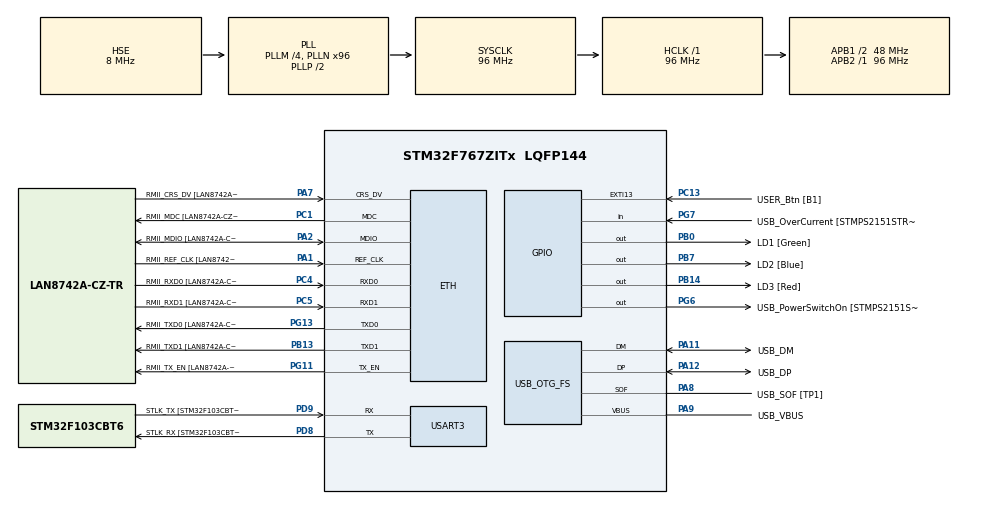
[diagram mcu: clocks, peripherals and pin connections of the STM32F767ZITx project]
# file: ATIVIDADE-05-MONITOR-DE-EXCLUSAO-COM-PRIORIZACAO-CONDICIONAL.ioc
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ETH.MediaInterface=HAL_ETH_RMII_MODE
ETH.PHY_Name=LAN8742A_PHY_ADDRESS
ETH.PHY_Value=0
ETH.PhyAddress=0
FREERTOS.Mutexes01=MeuMutex,Dynamic,NULL,Available
FREERTOS.Tasks01=Tarefa01,24,128,Tarefa01_Def,Default,NULL,Dynamic,NULL,NULL;Tarefa02,24,128,Tarefa02_Def,Default,NULL,Dynamic,NULL,NULL;Tarefa03,24,128,Tarefa03_Def,Default,NULL,Dynamic,NULL,NULL
FREERTOS.configUSE_NEWLIB_REENTRANT=1
Mcu.Family=STM32F7
Mcu.Name=STM32F767ZITx
Mcu.Package=LQFP144
NVIC.EXTI15_10_IRQn=true\:5\:0\:false\:false\:true\:true\:true\:true\:true
NVIC.PriorityGroup=NVIC_PRIORITYGROUP_4
NVIC.TIM1_UP_TIM10_IRQn=true\:15\:0\:false\:false\:true\:false\:false\:true\:true
NVIC.TimeBase=TIM1_UP_TIM10_IRQn
NVIC.TimeBaseIP=TIM1
PA1.GPIO_Label=RMII_REF_CLK [LAN8742A-CZ-TR_REFCLK0]
PA1.Mode=RMII
PA1.Signal=ETH_REF_CLK
PA10.GPIO_Label=USB_ID
PA10.Signal=USB_OTG_FS_ID
PA11.GPIO_Label=USB_DM
PA11.Mode=Device_Only
PA11.Signal=USB_OTG_FS_DM
PA12.GPIO_Label=USB_DP
PA12.Mode=Device_Only
PA12.Signal=USB_OTG_FS_DP
PA13.GPIO_Label=TMS
PA13.Mode=Serial_Wire
PA13.Signal=SYS_JTMS-SWDIO
PA14.GPIO_Label=TCK
PA14.Mode=Serial_Wire
PA14.Signal=SYS_JTCK-SWCLK
PA2.GPIO_Label=RMII_MDIO [LAN8742A-CZ-TR_MDIO]
PA2.Mode=RMII
PA2.Signal=ETH_MDIO
PA7.GPIO_Label=RMII_CRS_DV [LAN8742A-CZ-TR_CRS_DV]
PA7.Mode=RMII
PA7.Signal=ETH_CRS_DV
PA8.GPIO_Label=USB_SOF [TP1]
PA8.Mode=Activate_SOF_FS
PA8.Signal=USB_OTG_FS_SOF
PA9.GPIO_Label=USB_VBUS
PA9.Mode=Activate_VBUS
PA9.Signal=USB_OTG_FS_VBUS
PB0.GPIO_Label=LD1 [Green]
PB0.Signal=GPIO_Output
PB13.GPIO_Label=RMII_TXD1 [LAN8742A-CZ-TR_TXD1]
PB13.Mode=RMII
PB13.Signal=ETH_TXD1
PB14.GPIO_Label=LD3 [Red]
PB14.Signal=GPIO_Output
PB3.GPIO_Label=SWO
PB3.Signal=SYS_JTDO-SWO
PB7.GPIO_Label=LD2 [Blue]
PB7.Signal=GPIO_Output
PC1.GPIO_Label=RMII_MDC [LAN8742A-CZ-TR_MDC]
PC1.Mode=RMII
PC1.Signal=ETH_MDC
PC13.GPIO_Label=USER_Btn [B1]
PC13.Signal=GPXTI13
PC14/OSC32_IN.Mode=LSE-External-Oscillator
PC14/OSC32_IN.Signal=RCC_OSC32_IN
PC15/OSC32_OUT.Mode=LSE-External-Oscillator
PC15/OSC32_OUT.Signal=RCC_OSC32_OUT
PC4.GPIO_Label=RMII_RXD0 [LAN8742A-CZ-TR_RXD0]
PC4.Mode=RMII
PC4.Signal=ETH_RXD0
PC5.GPIO_Label=RMII_RXD1 [LAN8742A-CZ-TR_RXD1]
PC5.Mode=RMII
PC5.Signal=ETH_RXD1
PD8.GPIO_Label=STLK_RX [STM32F103CBT6_PA3]
PD8.Mode=Asynchronous
PD8.Signal=USART3_TX
PD9.GPIO_Label=STLK_TX [STM32F103CBT6_PA2]
PD9.Mode=Asynchronous
PD9.Signal=USART3_RX
PG11.GPIO_Label=RMII_TX_EN [LAN8742A-CZ-TR_TXEN]
PG11.Mode=RMII
PG11.Signal=ETH_TX_EN
PG13.GPIO_Label=RMII_TXD0 [LAN8742A-CZ-TR_TXD0]
PG13.Mode=RMII
PG13.Signal=ETH_TXD0
PG6.GPIO_Label=USB_PowerSwitchOn [STMPS2151STR_EN]
PG6.Signal=GPIO_Output
PG7.GPIO_Label=USB_OverCurrent [STMPS2151STR_FAULT]
PG7.Signal=GPIO_Input
PH0/OSC_IN.GPIO_Label=MCO [STM32F103CBT6_PA8]
PH0/OSC_IN.Mode=HSE-External-Clock-Source
PH0/OSC_IN.Signal=RCC_OSC_IN
PH1/OSC_OUT.Mode=HSE-External-Clock-Source
PH1/OSC_OUT.Signal=RCC_OSC_OUT
ProjectManager.HeapSize=0x200
ProjectManager.StackSize=0x400
ProjectManager.TargetToolchain=STM32CubeIDE
RCC.48MHZClocksFreq_Value=24000000
RCC.AHBFreq_Value=96000000
RCC.APB1CLKDivider=RCC_HCLK_DIV2
RCC.APB1Freq_Value=48000000
RCC.APB1TimFreq_Value=96000000
RCC.APB2Freq_Value=96000000
RCC.APB2TimFreq_Value=96000000
RCC.CortexFreq_Value=96000000
RCC.HCLKFreq_Value=96000000
RCC.HSE_VALUE=8000000
RCC.HSI_VALUE=16000000
RCC.PLLM=4
RCC.PLLMUL=RCC_PLL_MUL9
RCC.PLLN=96
RCC.PLLQ=4
RCC.PRESCALERUSB=RCC_USBCLKSOURCE_PLL_DIV1_5
RCC.SYSCLKFreq_VALUE=96000000
RCC.SYSCLKSource=RCC_SYSCLKSOURCE_PLLCLK
RCC.SYSCLKSourceVirtual=RCC_SYSCLKSOURCE_PLLCLK
RCC.USBFreq_Value=48000000
RCC.VCOOutputFreq_Value=192000000
USART3.VirtualMode-Asynchronous=VM_ASYNC
USB_OTG_FS.VirtualMode=Device_Only
VP_FREERTOS_VS_CMSIS_V2.Mode=CMSIS_V2
VP_SYS_VS_tim1.Mode=TIM1
board=NUCLEO-F767ZI

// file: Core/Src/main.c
/* USER CODE BEGIN Header */
/**
  ******************************************************************************
  * @file           : main.c
  * @brief          : Main program body
  ******************************************************************************
  * @attention
  *
  * Copyright (c) 2025 STMicroelectronics.
  * All rights reserved.
  *
  * This software is licensed under terms that can be found in the LICENSE file
  * in the root directory of this software component.
  * If no LICENSE file comes with this software, it is provided AS-IS.
  *
  ******************************************************************************
  */
/* USER CODE END Header */
#include "main.h"
#include "string.h"
#include "cmsis_os.h"

/* USER CODE BEGIN Includes */

#include <stdio.h>

/* USER CODE END Includes */

#if defined ( __ICCARM__ ) /*!< IAR Compiler */
#pragma location=0x2007c000
ETH_DMADescTypeDef  DMARxDscrTab[ETH_RX_DESC_CNT]; /* Ethernet Rx DMA Descriptors */
#pragma location=0x2007c0a0
ETH_DMADescTypeDef  DMATxDscrTab[ETH_TX_DESC_CNT]; /* Ethernet Tx DMA Descriptors */

#elif defined ( __CC_ARM )  /* MDK ARM Compiler */

__attribute__((at(0x2007c000))) ETH_DMADescTypeDef  DMARxDscrTab[ETH_RX_DESC_CNT]; /* Ethernet Rx DMA Descriptors */
__attribute__((at(0x2007c0a0))) ETH_DMADescTypeDef  DMATxDscrTab[ETH_TX_DESC_CNT]; /* Ethernet Tx DMA Descriptors */

#elif defined ( __GNUC__ ) /* GNU Compiler */

ETH_DMADescTypeDef DMARxDscrTab[ETH_RX_DESC_CNT] __attribute__((section(".RxDecripSection"))); /* Ethernet Rx DMA Descriptors */
ETH_DMADescTypeDef DMATxDscrTab[ETH_TX_DESC_CNT] __attribute__((section(".TxDecripSection")));   /* Ethernet Tx DMA Descriptors */
#endif

ETH_TxPacketConfig TxConfig;

ETH_HandleTypeDef heth;

UART_HandleTypeDef huart3;

PCD_HandleTypeDef hpcd_USB_OTG_FS;

/* Definitions for Tarefa01 */
osThreadId_t Tarefa01Handle;
const osThreadAttr_t Tarefa01_attributes = {
  .name = "Tarefa01",
  .stack_size = 128 * 4,
  .priority = (osPriority_t) osPriorityNormal,
};
/* Definitions for Tarefa02 */
osThreadId_t Tarefa02Handle;
const osThreadAttr_t Tarefa02_attributes = {
  .name = "Tarefa02",
  .stack_size = 128 * 4,
  .priority = (osPriority_t) osPriorityNormal,
};
/* Definitions for Tarefa03 */
osThreadId_t Tarefa03Handle;
const osThreadAttr_t Tarefa03_attributes = {
  .name = "Tarefa03",
  .stack_size = 128 * 4,
  .priority = (osPriority_t) osPriorityNormal,
};
/* Definitions for MeuMutex */
osMutexId_t MeuMutexHandle;
const osMutexAttr_t MeuMutex_attributes = {
  .name = "MeuMutex"
};
/* USER CODE BEGIN PV */

osThreadId_t donoMutex = NULL;

/* USER CODE END PV */

void SystemClock_Config(void);
static void MX_GPIO_Init(void);
static void MX_ETH_Init(void);
static void MX_USART3_UART_Init(void);
static void MX_USB_OTG_FS_PCD_Init(void);
void Tarefa01_Def(void *argument);
void Tarefa02_Def(void *argument);
void Tarefa03_Def(void *argument);

int main(void)
{

  /* MCU Configuration--------------------------------------------------------*/

  /* Reset of all peripherals, Initializes the Flash interface and the Systick. */
  HAL_Init();

  /* Configure the system clock */
  SystemClock_Config();

  /* Initialize all configured peripherals */
  MX_GPIO_Init();
  MX_ETH_Init();
  MX_USART3_UART_Init();
  MX_USB_OTG_FS_PCD_Init();

  /* Init scheduler */
  osKernelInitialize();
  /* Create the mutex(es) */
  /* creation of MeuMutex */
  MeuMutexHandle = osMutexNew(&MeuMutex_attributes);

  /* Create the thread(s) */
  /* creation of Tarefa01 */
  Tarefa01Handle = osThreadNew(Tarefa01_Def, NULL, &Tarefa01_attributes);

  /* creation of Tarefa02 */
  Tarefa02Handle = osThreadNew(Tarefa02_Def, NULL, &Tarefa02_attributes);

  /* creation of Tarefa03 */
  Tarefa03Handle = osThreadNew(Tarefa03_Def, NULL, &Tarefa03_attributes);

  /* Start scheduler */
  osKernelStart();

  /* We should never get here as control is now taken by the scheduler */

  /* Infinite loop */
  while (1)
  {

  }
}

void SystemClock_Config(void)
{
  RCC_OscInitTypeDef RCC_OscInitStruct = {0};
  RCC_ClkInitTypeDef RCC_ClkInitStruct = {0};

  /** Configure LSE Drive Capability
  */
  HAL_PWR_EnableBkUpAccess();

  /** Configure the main internal regulator output voltage
  */
  __HAL_RCC_PWR_CLK_ENABLE();
  __HAL_PWR_VOLTAGESCALING_CONFIG(PWR_REGULATOR_VOLTAGE_SCALE3);

  /** Initializes the RCC Oscillators according to the specified parameters
  * in the RCC_OscInitTypeDef structure.
  */
  RCC_OscInitStruct.OscillatorType = RCC_OSCILLATORTYPE_HSE;
  RCC_OscInitStruct.HSEState = RCC_HSE_BYPASS;
  RCC_OscInitStruct.PLL.PLLState = RCC_PLL_ON;
  RCC_OscInitStruct.PLL.PLLSource = RCC_PLLSOURCE_HSE;
  RCC_OscInitStruct.PLL.PLLM = 4;
  RCC_OscInitStruct.PLL.PLLN = 96;
  RCC_OscInitStruct.PLL.PLLP = RCC_PLLP_DIV2;
  RCC_OscInitStruct.PLL.PLLQ = 4;
  RCC_OscInitStruct.PLL.PLLR = 2;
  if (HAL_RCC_OscConfig(&RCC_OscInitStruct) != HAL_OK)
  {
    Error_Handler();
  }

  /** Activate the Over-Drive mode
  */
  if (HAL_PWREx_EnableOverDrive() != HAL_OK)
  {
    Error_Handler();
  }

  /** Initializes the CPU, AHB and APB buses clocks
  */
  RCC_ClkInitStruct.ClockType = RCC_CLOCKTYPE_HCLK|RCC_CLOCKTYPE_SYSCLK
                              |RCC_CLOCKTYPE_PCLK1|RCC_CLOCKTYPE_PCLK2;
  RCC_ClkInitStruct.SYSCLKSource = RCC_SYSCLKSOURCE_PLLCLK;
  RCC_ClkInitStruct.AHBCLKDivider = RCC_SYSCLK_DIV1;
  RCC_ClkInitStruct.APB1CLKDivider = RCC_HCLK_DIV2;
  RCC_ClkInitStruct.APB2CLKDivider = RCC_HCLK_DIV1;

  if (HAL_RCC_ClockConfig(&RCC_ClkInitStruct, FLASH_LATENCY_3) != HAL_OK)
  {
    Error_Handler();
  }
}

static void MX_ETH_Init(void)
{

   static uint8_t MACAddr[6];

  heth.Instance = ETH;
  MACAddr[0] = 0x00;
  MACAddr[1] = 0x80;
  MACAddr[2] = 0xE1;
  MACAddr[3] = 0x00;
  MACAddr[4] = 0x00;
  MACAddr[5] = 0x00;
  heth.Init.MACAddr = &MACAddr[0];
  heth.Init.MediaInterface = HAL_ETH_RMII_MODE;
  heth.Init.TxDesc = DMATxDscrTab;
  heth.Init.RxDesc = DMARxDscrTab;
  heth.Init.RxBuffLen = 1524;

  if (HAL_ETH_Init(&heth) != HAL_OK)
  {
    Error_Handler();
  }

  memset(&TxConfig, 0 , sizeof(ETH_TxPacketConfig));
  TxConfig.Attributes = ETH_TX_PACKETS_FEATURES_CSUM | ETH_TX_PACKETS_FEATURES_CRCPAD;
  TxConfig.ChecksumCtrl = ETH_CHECKSUM_IPHDR_PAYLOAD_INSERT_PHDR_CALC;
  TxConfig.CRCPadCtrl = ETH_CRC_PAD_INSERT;

}

static void MX_USART3_UART_Init(void)
{

  huart3.Instance = USART3;
  huart3.Init.BaudRate = 115200;
  huart3.Init.WordLength = UART_WORDLENGTH_8B;
  huart3.Init.StopBits = UART_STOPBITS_1;
  huart3.Init.Parity = UART_PARITY_NONE;
  huart3.Init.Mode = UART_MODE_TX_RX;
  huart3.Init.HwFlowCtl = UART_HWCONTROL_NONE;
  huart3.Init.OverSampling = UART_OVERSAMPLING_16;
  huart3.Init.OneBitSampling = UART_ONE_BIT_SAMPLE_DISABLE;
  huart3.AdvancedInit.AdvFeatureInit = UART_ADVFEATURE_NO_INIT;
  if (HAL_UART_Init(&huart3) != HAL_OK)
  {
    Error_Handler();
  }

}

static void MX_USB_OTG_FS_PCD_Init(void)
{

  hpcd_USB_OTG_FS.Instance = USB_OTG_FS;
  hpcd_USB_OTG_FS.Init.dev_endpoints = 6;
  hpcd_USB_OTG_FS.Init.speed = PCD_SPEED_FULL;
  hpcd_USB_OTG_FS.Init.dma_enable = DISABLE;
  hpcd_USB_OTG_FS.Init.phy_itface = PCD_PHY_EMBEDDED;
  hpcd_USB_OTG_FS.Init.Sof_enable = ENABLE;
  hpcd_USB_OTG_FS.Init.low_power_enable = DISABLE;
  hpcd_USB_OTG_FS.Init.lpm_enable = DISABLE;
  hpcd_USB_OTG_FS.Init.vbus_sensing_enable = ENABLE;
  hpcd_USB_OTG_FS.Init.use_dedicated_ep1 = DISABLE;
  if (HAL_PCD_Init(&hpcd_USB_OTG_FS) != HAL_OK)
  {
    Error_Handler();
  }

}

static void MX_GPIO_Init(void)
{
  GPIO_InitTypeDef GPIO_InitStruct = {0};

  /* GPIO Ports Clock Enable */
  __HAL_RCC_GPIOC_CLK_ENABLE();
  __HAL_RCC_GPIOH_CLK_ENABLE();
  __HAL_RCC_GPIOA_CLK_ENABLE();
  __HAL_RCC_GPIOB_CLK_ENABLE();
  __HAL_RCC_GPIOD_CLK_ENABLE();
  __HAL_RCC_GPIOG_CLK_ENABLE();

  /*Configure GPIO pin Output Level */
  HAL_GPIO_WritePin(GPIOB, LD1_Pin|LD3_Pin|LD2_Pin, GPIO_PIN_RESET);

  /*Configure GPIO pin Output Level */
  HAL_GPIO_WritePin(USB_PowerSwitchOn_GPIO_Port, USB_PowerSwitchOn_Pin, GPIO_PIN_RESET);

  /*Configure GPIO pin : USER_Btn_Pin */
  GPIO_InitStruct.Pin = USER_Btn_Pin;
  GPIO_InitStruct.Mode = GPIO_MODE_IT_RISING;
  GPIO_InitStruct.Pull = GPIO_NOPULL;
  HAL_GPIO_Init(USER_Btn_GPIO_Port, &GPIO_InitStruct);

  /*Configure GPIO pins : LD1_Pin LD3_Pin LD2_Pin */
  GPIO_InitStruct.Pin = LD1_Pin|LD3_Pin|LD2_Pin;
  GPIO_InitStruct.Mode = GPIO_MODE_OUTPUT_PP;
  GPIO_InitStruct.Pull = GPIO_NOPULL;
  GPIO_InitStruct.Speed = GPIO_SPEED_FREQ_LOW;
  HAL_GPIO_Init(GPIOB, &GPIO_InitStruct);

  /*Configure GPIO pin : USB_PowerSwitchOn_Pin */
  GPIO_InitStruct.Pin = USB_PowerSwitchOn_Pin;
  GPIO_InitStruct.Mode = GPIO_MODE_OUTPUT_PP;
  GPIO_InitStruct.Pull = GPIO_NOPULL;
  GPIO_InitStruct.Speed = GPIO_SPEED_FREQ_LOW;
  HAL_GPIO_Init(USB_PowerSwitchOn_GPIO_Port, &GPIO_InitStruct);

  /*Configure GPIO pin : USB_OverCurrent_Pin */
  GPIO_InitStruct.Pin = USB_OverCurrent_Pin;
  GPIO_InitStruct.Mode = GPIO_MODE_INPUT;
  GPIO_InitStruct.Pull = GPIO_NOPULL;
  HAL_GPIO_Init(USB_OverCurrent_GPIO_Port, &GPIO_InitStruct);

  /* EXTI interrupt init*/
  HAL_NVIC_SetPriority(EXTI15_10_IRQn, 5, 0);
  HAL_NVIC_EnableIRQ(EXTI15_10_IRQn);

}

void Tarefa01_Def(void *argument)
{
  /* USER CODE BEGIN 5 */
	char mensagem1[50] = "Tarefa 1 em execução: ciclo 1\n";
  /* Infinite loop */
  for(;;)
  {
	if (osMutexAcquire(MeuMutexHandle, osWaitForever) == osOK) {

		donoMutex = osThreadGetId();

		//Região Crítica do Código
		//--------------------------------------------
		HAL_UART_Transmit(&huart3, (uint8_t*)mensagem1, strlen(mensagem1), HAL_MAX_DELAY);
		HAL_GPIO_TogglePin(GPIOB, LD1_Pin);
		//---------------------------------------------

		osMutexRelease(MeuMutexHandle);
		donoMutex = NULL;
	}
	osDelay(1000);
  }
  /* USER CODE END 5 */
}

void Tarefa02_Def(void *argument)
{
  /* USER CODE BEGIN Tarefa02_Def */
	char mensagem1[50] = "Tarefa2...\n";
	int contador_ciclos_de_execucao = 0;
  /* Infinite loop */
  for(;;)
  {
	if (donoMutex == Tarefa02Handle) {
		donoMutex = osThreadGetId();

		//Região Crítica do Código
		//--------------------------------------------

		sprintf(mensagem1, "Tarefa 2 em execução: ciclo %d\n", contador_ciclos_de_execucao);

		HAL_UART_Transmit(&huart3, (uint8_t*)mensagem1, strlen(mensagem1), HAL_MAX_DELAY);
		HAL_GPIO_TogglePin(GPIOB, LD1_Pin);

		//---------------------------------------------

		if (contador_ciclos_de_execucao < 3) {
			contador_ciclos_de_execucao += 1;
		}
		else {
			contador_ciclos_de_execucao = 0;
			osMutexRelease(MeuMutexHandle);
			donoMutex = NULL;
		}
	}
	else if (osMutexAcquire(MeuMutexHandle, osWaitForever) == osOK) {

		donoMutex = osThreadGetId();

		//Região Crítica do Código
		//--------------------------------------------

		sprintf(mensagem1, "Tarefa 2 em execução: ciclo %d\n", contador_ciclos_de_execucao);

		HAL_UART_Transmit(&huart3, (uint8_t*)mensagem1, strlen(mensagem1), HAL_MAX_DELAY);
		HAL_GPIO_TogglePin(GPIOB, LD1_Pin);

		//---------------------------------------------

		if (contador_ciclos_de_execucao < 3) {
			contador_ciclos_de_execucao += 1;
		}
		else {
			contador_ciclos_de_execucao = 0;
			osMutexRelease(MeuMutexHandle);
			donoMutex = NULL;
		}
	}
    osDelay(1000);
  }
  /* USER CODE END Tarefa02_Def */
}

void Tarefa03_Def(void *argument)
{
  /* USER CODE BEGIN Tarefa03_Def */
	char mensagem1[50] = "Tarefa3 em execução...\n";
	char mensagem2[50];;
	uint32_t tempo_inicio;
	uint32_t tempo_fim;
	uint32_t tempo_espera;

  /* Infinite loop */
  for(;;)
  {

	tempo_inicio = osKernelGetTickCount();

	if (osMutexAcquire(MeuMutexHandle, osWaitForever) == osOK) {

		tempo_fim = osKernelGetTickCount();
		tempo_espera = tempo_fim - tempo_inicio;

		donoMutex = osThreadGetId();

		//Região Crítica do Código
		//--------------------------------------------
		HAL_UART_Transmit(&huart3, (uint8_t*)mensagem1, strlen(mensagem1), HAL_MAX_DELAY);
		HAL_GPIO_TogglePin(GPIOB, LD1_Pin);
		//--------------------------------------------

		if (tempo_espera > 2000) {
			sprintf(mensagem2, "Tarefa 3 - Estou sendo bloqueada por %d segundos\n", tempo_espera);
			HAL_UART_Transmit(&huart3, (uint8_t*)mensagem2, strlen(mensagem2), HAL_MAX_DELAY);
			HAL_GPIO_TogglePin(GPIOB, LD3_Pin);
			osDelay(1);
		}

		osMutexRelease(MeuMutexHandle);
		donoMutex = NULL;
	}
	osDelay(1000);
  }
  /* USER CODE END Tarefa03_Def */
}

void HAL_TIM_PeriodElapsedCallback(TIM_HandleTypeDef *htim)
{
  if (htim->Instance == TIM1)
  {
    HAL_IncTick();
  }
}

void Error_Handler(void)
{
  __disable_irq();
  while (1)
  {
  }
}
